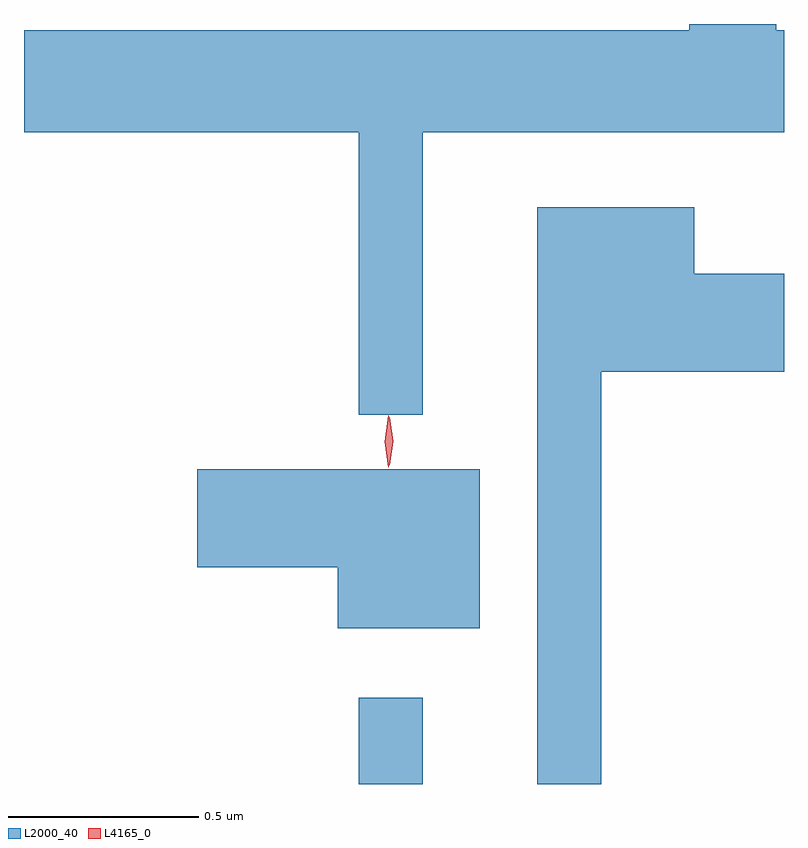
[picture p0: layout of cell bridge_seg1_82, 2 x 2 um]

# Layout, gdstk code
import gdstk
lib = gdstk.Library(unit=1e-6, precision=1e-09)
def R(c, l, rs):  # rectangles x0, y0, x1, y1
    for r in rs: c.add(gdstk.rectangle(r[:2], r[2:], *l))
def P(c, l, *ps):  # polygons
    for p in ps: c.add(gdstk.Polygon(p, *l))
L2000_40 = (2000, 40)
L4165_0 = (4165, 0)

bridge_seg1_82 = lib.new_cell('bridge_seg1_82')
R(bridge_seg1_82, L2000_40, [(1246.171,869.001,1246.339,869.228)])
P(bridge_seg1_82, L2000_40, [(1246.339,870.716),(1247.29,870.716),(1247.29,870.984),(1247.269,870.984),(1247.269,871.001),(1247.041,871.001),(1247.041,870.984),(1245.29,870.984),(1245.29,870.716),(1246.171,870.716),(1246.171,869.973),(1246.339,869.973)],
  [(1246.809,870.086),(1247.29,870.086),(1247.29,870.344),(1247.054,870.344),(1247.054,870.519),(1246.641,870.519),(1246.641,869.001),(1246.809,869.001)],
  [(1246.489,869.829),(1245.746,869.829),(1245.746,869.571),(1246.116,869.571),(1246.116,869.411),(1246.489,869.411)])
P(bridge_seg1_82, L4165_0, [(1246.248,869.834),(1246.239,869.902),(1246.248,869.97),(1246.249,869.97),(1246.25,869.97),(1246.259,869.902),(1246.25,869.834),(1246.249,869.834)],
  [(1246.252,869.84),(1246.252,869.84),(1246.242,869.903),(1246.252,869.966),(1246.252,869.967),(1246.252,869.966),(1246.262,869.903),(1246.252,869.84)])

lib.write_gds('bridge_seg1_82.gds')
